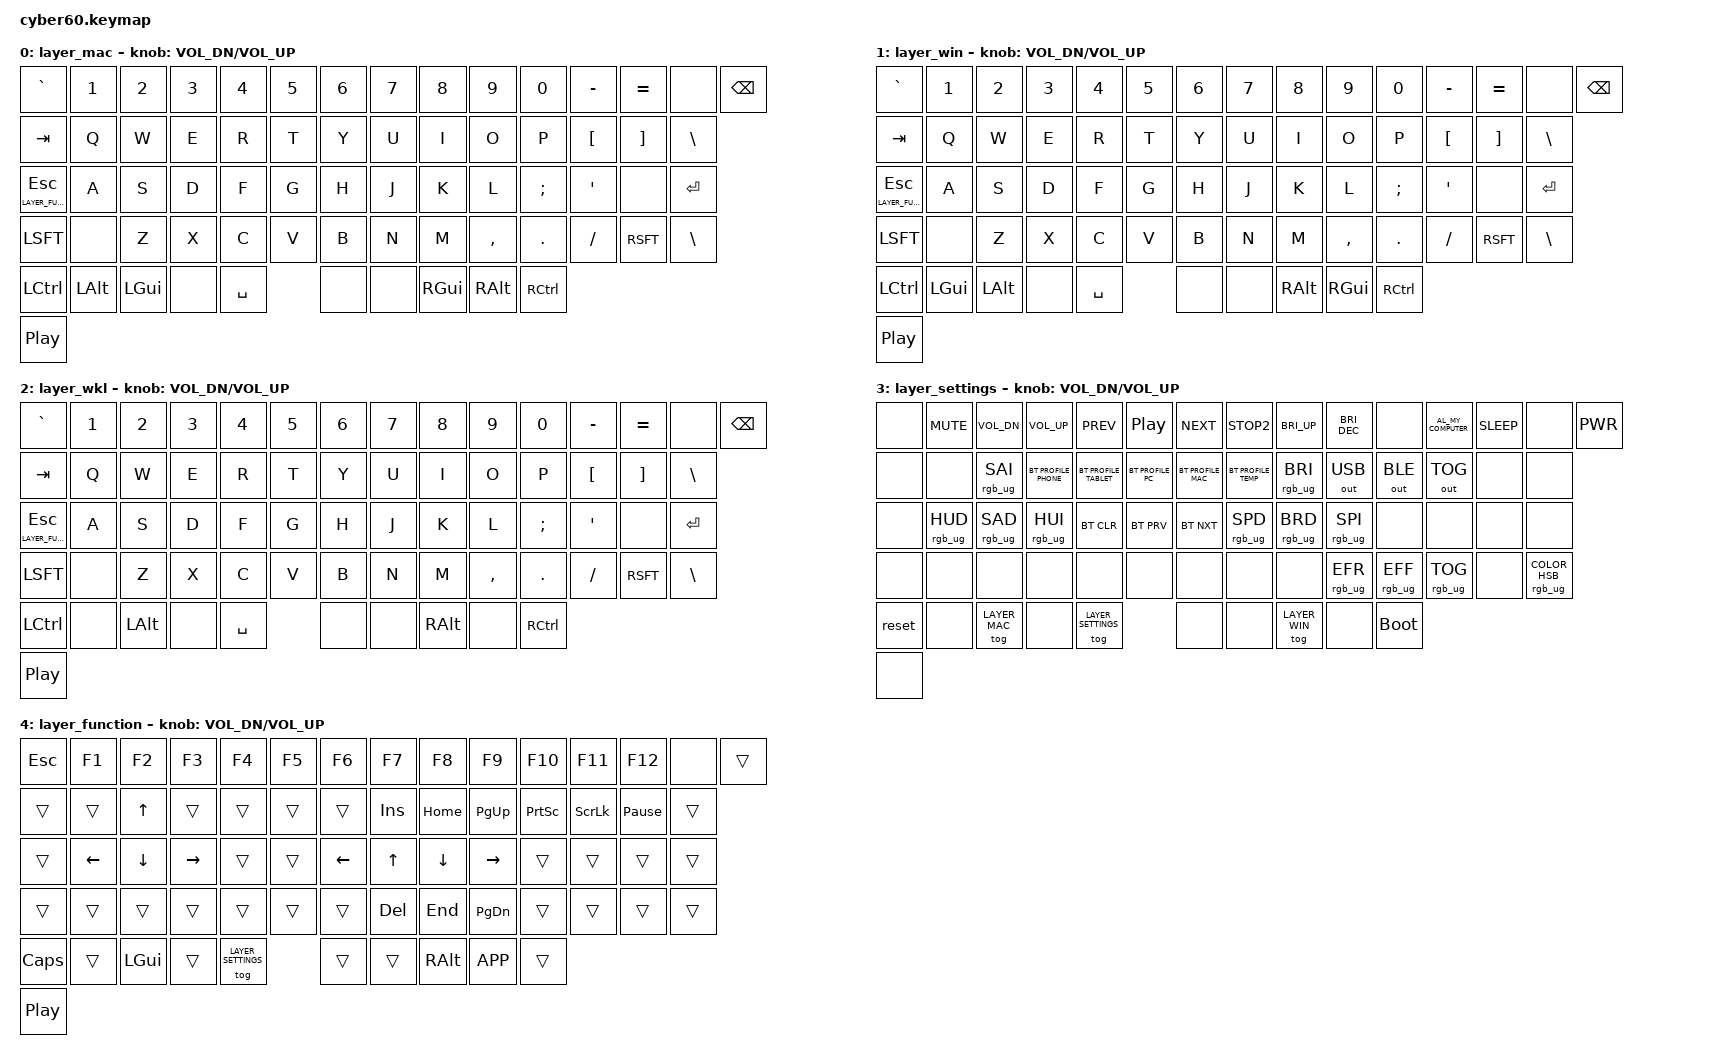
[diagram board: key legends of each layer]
//
//	\file		cyber60.keymap
//	\brief		Keymap file for cyber60 keyboard PCB
//
//	\author		Gemuele Aludino
//	\date		14 May 2022
//

#include <behaviors.dtsi>
#include <dt-bindings/zmk/keys.h>
#include <dt-bindings/zmk/bt.h>
#include <dt-bindings/zmk/outputs.h>
#include <dt-bindings/zmk/rgb.h>
#include <dt-bindings/zmk/ext_power.h>

// Keymap layers
#define LAYER_MAC 			0
#define LAYER_WIN			1
#define LAYER_WKL			2
#define LAYER_SETTINGS		3
#define LAYER_FUNCTION		4

// Bluetooth profiles
#define BT_PROFILE_PHONE 	0
#define BT_PROFILE_TABLET 	1
#define BT_PROFILE_PC 		2
#define BT_PROFILE_MAC		3
#define BT_PROFILE_TEMP		4

/ {
	keymap {
		compatible = "zmk,keymap";
		layer_mac {
//
// macOS-centric bottom row
//
			bindings = <
	&kp GRAV		 &kp NUM_1 	&kp NUM_2	&kp NUM_3 	&kp NUM_4 &kp NUM_5 &kp NUM_6 	&kp NUM_7 	&kp NUM_8 &kp NUM_9	&kp NUM_0	&kp MINUS	&kp EQL  	&none	&kp BKSP
	&kp TAB &kp   Q   	&kp   W   	&kp   E   	&kp   R   &kp   T   &kp   Y   	&kp   U   	&kp   I   &kp   O   &kp   P   	&kp LBKT 	&kp RBKT	&kp BSLH
	&lt LAYER_FUNCTION ESC 	 &kp   A   	&kp   S   	&kp   D   	&kp   F   &kp   G   &kp   H   	&kp   J   	&kp   K   &kp   L   &kp  SCLN  	&kp  QUOT   &none		&kp RET
	&kp LSFT 	 &none		&kp   Z   	&kp   X   	&kp   C   &kp   V   &kp   B   	&kp   N   	&kp   M   &kp  CMMA &kp  DOT  	&kp  FSLH	&kp RSFT 	&kp BSLH
	&kp LCTL 	 &kp LALT   &kp LGUI				&none			&kp SPC		&none  	&none			&kp  RGUI 	&kp RALT	&kp  RCTL
	&kp C_PP
			>;
			sensor-bindings = <&inc_dec_kp C_VOL_DN C_VOL_UP>;
		};
		layer_win {
//
// Windows-centric bottom row
//
				bindings = <
	&kp GRAV		 &kp NUM_1 	&kp NUM_2	&kp NUM_3 	&kp NUM_4 &kp NUM_5 &kp NUM_6 	&kp NUM_7 	&kp NUM_8 &kp NUM_9	&kp NUM_0	&kp MINUS	&kp EQL  	&none	&kp BKSP
	&kp TAB &kp   Q   	&kp   W   	&kp   E   	&kp   R   &kp   T   &kp   Y   	&kp   U   	&kp   I   &kp   O   &kp   P   	&kp LBKT 	&kp RBKT	&kp BSLH
	&lt LAYER_FUNCTION ESC &kp   A   	&kp   S   	&kp   D   	&kp   F   &kp   G   &kp   H   	&kp   J   	&kp   K   &kp   L   &kp  SCLN  	&kp  QUOT   &none		&kp RET
	&kp LSFT 	 &none		&kp   Z   	&kp   X   	&kp   C   &kp   V   &kp   B   	&kp   N   	&kp   M   &kp  CMMA &kp  DOT  	&kp  FSLH	&kp RSFT 	&kp BSLH
	&kp LCTL 	 &kp LGUI   &kp LALT				&none			&kp SPC		&none  	&none			&kp  RALT 	&kp RGUI	&kp  RCTL
	&kp C_PP
			>;
			sensor-bindings = <&inc_dec_kp C_VOL_DN C_VOL_UP>;
		};
		layer_wkl {
//
// Windows-centric bottom row, sans winkey functionality
//
				bindings = <
	&kp GRAV		 &kp NUM_1 	&kp NUM_2	&kp NUM_3 	&kp NUM_4 &kp NUM_5 &kp NUM_6 	&kp NUM_7 	&kp NUM_8 &kp NUM_9	&kp NUM_0	&kp MINUS	&kp EQL  	&none	&kp BKSP
	&kp TAB 	 &kp   Q   	&kp   W   	&kp   E   	&kp   R   &kp   T   &kp   Y   	&kp   U   	&kp   I   &kp   O   &kp   P   	&kp LBKT 	&kp RBKT	&kp BSLH
	&lt LAYER_FUNCTION ESC 	 &kp   A   	&kp   S   	&kp   D   	&kp   F   &kp   G   &kp   H   	&kp   J   	&kp   K   &kp   L   &kp  SCLN  	&kp  QUOT   &none		&kp RET
	&kp LSFT 	 &none		&kp   Z   	&kp   X   	&kp   C   &kp   V   &kp   B   	&kp   N   	&kp   M   &kp  CMMA &kp  DOT  	&kp  FSLH	&kp RSFT 	&kp BSLH
	&kp LCTL 	 &none   	&kp LALT				&none		&kp SPC		&none  	&none				&kp  RALT 	&none		&kp  RCTL
	&kp C_PP
			>;
			sensor-bindings = <&inc_dec_kp C_VOL_DN C_VOL_UP>;
		};
		layer_settings {
//
// Keyboard configuration (connectivity, lighting, bootloader, reset)
//
				bindings = <
	&none		&kp K_MUTE	&kp C_VOL_DN	&kp C_VOL_UP	&kp C_PREV	&kp C_PP 	&kp C_NEXT 	&kp K_STOP2 	&kp C_BRI_UP	&kp C_BRI_DEC	&none		&kp C_AL_MY_COMPUTER	&kp K_SLEEP 	&none	&kp C_PWR
	&none 	&none				&rgb_ug RGB_SAI		&bt BT_SEL BT_PROFILE_PHONE   	&bt BT_SEL BT_PROFILE_TABLET	&bt BT_SEL BT_PROFILE_PC   	&bt BT_SEL BT_PROFILE_MAC	&bt BT_SEL BT_PROFILE_TEMP	&rgb_ug RGB_BRI   &out OUT_USB	&out OUT_BLE	&out OUT_TOG			&none			&none
	&none	&rgb_ug RGB_HUD  	&rgb_ug RGB_SAD  	&rgb_ug RGB_HUI  				&bt BT_CLR   		&bt BT_PRV  		&bt BT_NXT 												  &rgb_ug RGB_SPD   &rgb_ug RGB_BRD	  &rgb_ug RGB_SPI   		&none			&none		&none   		&none
	&none	&none	&none &none	&none &none &none	&none	&none	&rgb_ug RGB_EFR	&rgb_ug RGB_EFF	&rgb_ug RGB_TOG	&none	&rgb_ug RGB_COLOR_HSB(128,100,100)
	&reset		&none   	&tog LAYER_MAC			&none		&tog LAYER_SETTINGS		&none  	&none				&tog LAYER_WIN 	&none	&bootloader
	&none
			>;
			sensor-bindings = <&inc_dec_kp C_VOL_DN C_VOL_UP>;
		};
		layer_function {
//
// Function keys, navigation cluster
//
			bindings = <
	&kp ESC 	&kp F1		&kp F2 	 		&kp F3			&kp F4			&kp F5			&kp F6			&kp F7			&kp F8			&kp F9			&kp F10		&kp F11		&kp F12			&none 	&trans
	&trans			&trans  &kp UP   		&trans		&trans			&trans			&trans			&kp INS			&kp HOME			&kp PG_UP			&kp PSCRN	&kp SLCK	&kp PAUSE_BREAK	&trans
	&trans 		&kp LEFT   	&kp DOWN		&kp RIGHT		&trans		&trans			&kp LEFT	&kp UP	&kp DOWN		&kp RIGHT		&trans	&trans	&trans		&trans
	&trans 		&trans   	&trans   	&trans	 	&trans 		&trans	&trans				&kp DEL		&kp END					&kp PG_DN			&trans	&trans	&trans 		&trans
	&kp CLCK 	&trans   	&kp LGUI             		&trans		&tog LAYER_SETTINGS		&trans  &trans  &kp RALT		&kp K_APP	&trans
	&kp C_PP
			>;
			sensor-bindings = <&inc_dec_kp C_VOL_DN C_VOL_UP>;
		};
	};
};
